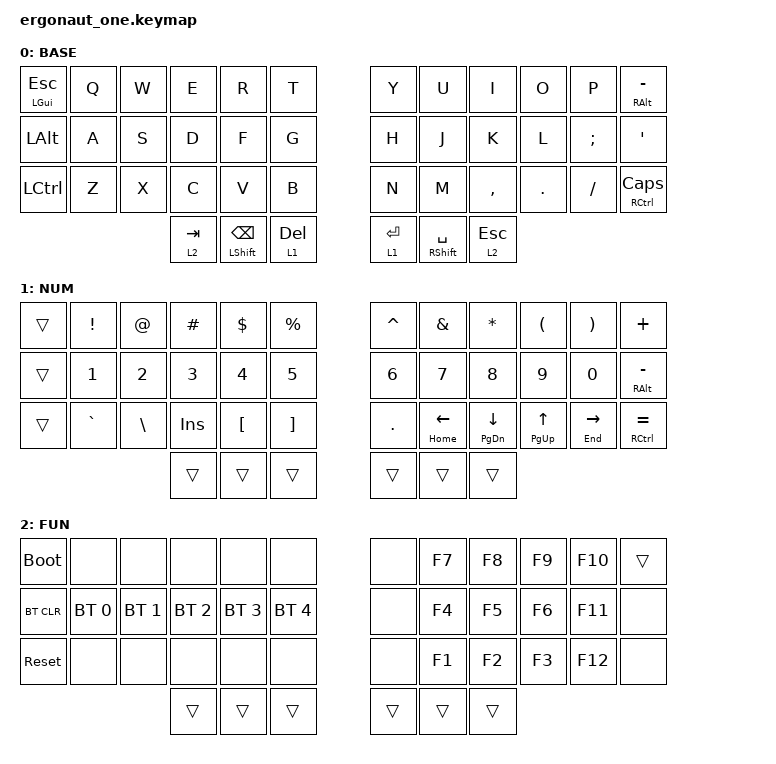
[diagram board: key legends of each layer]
#include <behaviors.dtsi>
#include <dt-bindings/zmk/bt.h>
#include <dt-bindings/zmk/keys.h>

#define BASE 0
#define NUM  1
#define FUN  2

&lt {
    quick-tap-ms = <200>;
    flavor = "balanced";
};

/ {
    combos {
        compatible = "zmk,combos";

        // Both shifts = caps word

        combo_capsword {
            timeout-ms = <50>;
            key-positions = <37 40>;
            bindings = <&caps_word>;
            layers = <BASE>;
        };

        // Both inner thumbs = toggle NUM layer (works on BASE and NUM so it can toggle off)

        combo_num_lock {
            timeout-ms = <50>;
            key-positions = <38 39>;
            bindings = <&tog NUM>;
            layers = <BASE NUM>;
        };
    };

    keymap {
        compatible = "zmk,keymap";

        // The outer top and middle keys are unused so the layout matches the Totem.
        // The outer bottom keys are the Totem's extra pinky keys.

        base_layer {
            display-name = "BASE";
            bindings = <
&mt LEFT_GUI ESCAPE  &kp Q  &kp W  &kp E      &kp R                     &kp T         &kp Y        &kp U            &kp I         &kp O    &kp P          &mt RALT MINUS
&kp LEFT_ALT         &kp A  &kp S  &kp D      &kp F                     &kp G         &kp H        &kp J            &kp K         &kp L    &kp SEMICOLON  &kp SQT
&kp LCTRL            &kp Z  &kp X  &kp C      &kp V                     &kp B         &kp N        &kp M            &kp COMMA     &kp DOT  &kp FSLH       &mt RCTRL CAPSLOCK
                                   &lt 2 TAB  &mt LEFT_SHIFT BACKSPACE  &lt 1 DELETE  &lt 1 ENTER  &mt RSHFT SPACE  &lt 2 ESCAPE
            >;
        };

        num_layer {
            display-name = "NUM";
            bindings = <
&trans  &kp EXCL   &kp AT    &kp HASH  &kp DLLR  &kp PRCNT  &kp CARET  &kp AMPS       &kp STAR        &kp LPAR      &kp RPAR       &kp PLUS
&trans  &kp N1     &kp N2    &kp N3    &kp N4    &kp N5     &kp N6     &kp N7         &kp N8          &kp N9        &kp N0         &mt RALT MINUS
&trans  &kp GRAVE  &kp BSLH  &kp INS   &kp LBKT  &kp RBKT   &kp DOT    &mt HOME LEFT  &mt PG_DN DOWN  &mt PG_UP UP  &mt END RIGHT  &mt RCTRL EQUAL
                             &trans    &trans    &trans     &trans     &trans         &trans
            >;
        };

        func_layer {
            display-name = "FUN";
            bindings = <
&bootloader  &none         &none         &none         &none         &none         &none   &kp F7  &kp F8  &kp F9  &kp F10  &trans
&bt BT_CLR   &bt BT_SEL 0  &bt BT_SEL 1  &bt BT_SEL 2  &bt BT_SEL 3  &bt BT_SEL 4  &none   &kp F4  &kp F5  &kp F6  &kp F11  &none
&sys_reset   &none         &none         &none         &none         &none         &none   &kp F1  &kp F2  &kp F3  &kp F12  &none
                                         &trans        &trans        &trans        &trans  &trans  &trans
            >;
        };
    };
};
